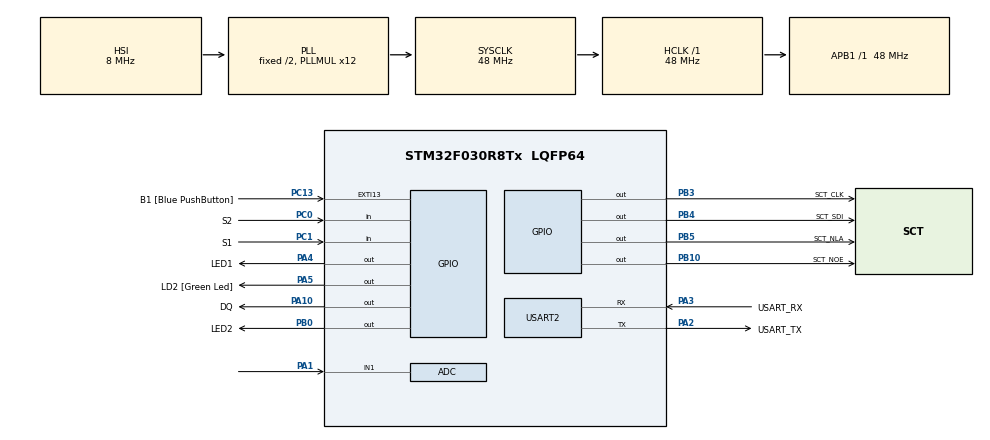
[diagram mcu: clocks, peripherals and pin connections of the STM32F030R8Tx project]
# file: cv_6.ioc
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ADC.ContinuousConvMode=ENABLE
ADC.Overrun=ADC_OVR_DATA_OVERWRITTEN
ADC.Resolution=ADC_RESOLUTION_10B
Mcu.Family=STM32F0
Mcu.Name=STM32F030R8Tx
Mcu.Package=LQFP64
PA1.Mode=IN1
PA1.Signal=ADC_IN1
PA10.GPIO_Label=DQ
PA10.GPIO_ModeDefaultOutputPP=GPIO_MODE_OUTPUT_OD
PA10.GPIO_PuPd=GPIO_NOPULL
PA10.Signal=GPIO_Output
PA13.GPIO_Label=TMS
PA13.Mode=Serial_Wire
PA13.Signal=SYS_SWDIO
PA14.GPIO_Label=TCK
PA14.Mode=Serial_Wire
PA14.Signal=SYS_SWCLK
PA2.GPIO_Label=USART_TX
PA2.GPIO_Mode=GPIO_MODE_AF_PP
PA2.GPIO_PuPd=GPIO_NOPULL
PA2.GPIO_Speed=GPIO_SPEED_FREQ_LOW
PA2.Mode=Asynchronous
PA2.Signal=USART2_TX
PA3.GPIO_Label=USART_RX
PA3.GPIO_Mode=GPIO_MODE_AF_PP
PA3.GPIO_PuPd=GPIO_NOPULL
PA3.GPIO_Speed=GPIO_SPEED_FREQ_LOW
PA3.Mode=Asynchronous
PA3.Signal=USART2_RX
PA4.GPIO_Label=LED1
PA4.Signal=GPIO_Output
PA5.GPIO_Label=LD2 [Green Led]
PA5.GPIO_Mode=GPIO_MODE_OUTPUT_PP
PA5.GPIO_PuPd=GPIO_NOPULL
PA5.GPIO_Speed=GPIO_SPEED_FREQ_LOW
PA5.Signal=GPIO_Output
PB0.GPIO_Label=LED2
PB0.Signal=GPIO_Output
PB10.GPIO_Label=SCT_NOE
PB10.Signal=GPIO_Output
PB3.GPIO_Label=SCT_CLK
PB3.Signal=GPIO_Output
PB4.GPIO_Label=SCT_SDI
PB4.Signal=GPIO_Output
PB5.GPIO_Label=SCT_NLA
PB5.Signal=GPIO_Output
PC0.GPIO_Label=S2
PC0.GPIO_PuPd=GPIO_PULLUP
PC0.Signal=GPIO_Input
PC1.GPIO_Label=S1
PC1.GPIO_PuPd=GPIO_PULLUP
PC1.Signal=GPIO_Input
PC13.GPIO_Label=B1 [Blue PushButton]
PC13.GPIO_ModeDefaultEXTI=GPIO_MODE_IT_FALLING
PC13.Signal=GPXTI13
PC14-OSC32_IN.Mode=LSE-External-Oscillator
PC14-OSC32_IN.Signal=RCC_OSC32_IN
PC15-OSC32_OUT.Mode=LSE-External-Oscillator
PC15-OSC32_OUT.Signal=RCC_OSC32_OUT
PF0-OSC_IN.Mode=HSE-External-Clock-Source
PF0-OSC_IN.Signal=RCC_OSC_IN
PF1-OSC_OUT.Signal=RCC_OSC_OUT
ProjectManager.HeapSize=0x200
ProjectManager.StackSize=0x400
ProjectManager.TargetToolchain=STM32CubeIDE
RCC.AHBFreq_Value=48000000
RCC.APB1Freq_Value=48000000
RCC.APB1TimFreq_Value=48000000
RCC.HCLKFreq_Value=48000000
RCC.PLLMUL=RCC_PLL_MUL12
RCC.SYSCLKFreq_VALUE=48000000
RCC.SYSCLKSource=RCC_SYSCLKSOURCE_PLLCLK
USART2.VirtualMode-Asynchronous=VM_ASYNC
board=NUCLEO-F030R8

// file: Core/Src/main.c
/* USER CODE BEGIN Header */
/**
  ******************************************************************************
  * @file           : main.c
  * @brief          : Main program body
  ******************************************************************************
  * @attention
  *
  * Copyright (c) 2022 STMicroelectronics.
  * All rights reserved.
  *
  * This software is licensed under terms that can be found in the LICENSE file
  * in the root directory of this software component.
  * If no LICENSE file comes with this software, it is provided AS-IS.
  *
  ******************************************************************************
  */
/* USER CODE END Header */
#include "main.h"

/* USER CODE BEGIN Includes */

#include "1wire.h"
#include "sct.h"
#include "data_NTC.h"

/* USER CODE END Includes */

/* USER CODE BEGIN PD */

#define CONVERT_T_DELAY 750 // the time it takes to complete the reading
#define DISPLAY_PERIOD 50 // 50ms timeout
#define MEASURE_PERIOD 750

/* USER CODE END PD */

ADC_HandleTypeDef hadc;

UART_HandleTypeDef huart2;

/* USER CODE BEGIN PV */

static uint16_t NTC_value = 0;
static enum { SHOW_NTC, SHOW_DS18B20} state = SHOW_DS18B20; // state is changed, once a corresponding button is pressed

/* USER CODE END PV */

void SystemClock_Config(void);
static void MX_GPIO_Init(void);
static void MX_USART2_UART_Init(void);
static void MX_ADC_Init(void);

int main(void)
{

  /* MCU Configuration--------------------------------------------------------*/

  /* Reset of all peripherals, Initializes the Flash interface and the Systick. */
  HAL_Init();

  /* Configure the system clock */
  SystemClock_Config();

  /* Initialize all configured peripherals */
  MX_GPIO_Init();
  MX_USART2_UART_Init();
  MX_ADC_Init();
  /* USER CODE BEGIN 2 */

  OWInit(); // 1-wire library initialization

  sct_init(); // LED display library initialization

  HAL_ADCEx_Calibration_Start(&hadc); // ADC initialization
  HAL_ADC_Start(&hadc);

  /* USER CODE END 2 */

  /* Infinite loop */
  /* USER CODE BEGIN WHILE */
  while (1)
  {
	  // pin PA10 was initialized as an open drain pin because of the 1-wire communication
	  static uint32_t lastDisplayTicks = 0;
	  static uint32_t lastMeasurementTicks = 0;
	  static uint8_t odd_pass = 0;
	  static uint8_t rev_dir = 1;
	  static int16_t temperature = 0;
	  static uint8_t kr = 0;

	  if(HAL_GetTick() >= lastMeasurementTicks + MEASURE_PERIOD) // take measurements every 750 ms
	  {
		  lastMeasurementTicks = HAL_GetTick();
		  odd_pass = !odd_pass; // between temperature reading initialization and reading the value from the sensor must be delay at least 750 ms

		  NTC_value = HAL_ADC_GetValue(&hadc);
		  if(odd_pass) OWConvertAll();
		  else
		  {
			  OWReadTemperature(&temperature);
			  if(temperature % 10 >= 5) temperature = 1 + (temperature / 10);
			  else temperature /= 10;
		  }
	  }
	  if(HAL_GetTick() >= lastDisplayTicks + DISPLAY_PERIOD) // update display and read keys every 50 ms
	  {
		  lastDisplayTicks = HAL_GetTick();

		  if(rev_dir) kr++;
		  else kr--;
		  if(kr > 8)
		  {
			  kr = 0; // knight rider bargraph
			  rev_dir = !rev_dir;
		  }
		  else if(kr < 0)
		  {
		  	 kr = 0; // knight rider bargraph
		  	 rev_dir = !rev_dir;
		  }

		  if(!HAL_GPIO_ReadPin(GPIOC, S1_Pin))
		  {
			  state = SHOW_NTC;
		  }
		  else if(!HAL_GPIO_ReadPin(S2_GPIO_Port, S2_Pin))
		  {
			  state = SHOW_DS18B20;
		  }
		  switch(state)
		  {
			  case SHOW_NTC:
				  sct_value(NTC_LOOKUP_TABLE[NTC_value], kr, 2);
				  HAL_GPIO_WritePin(GPIOB, LED2_Pin, 1);
				  HAL_GPIO_WritePin(GPIOA, LED1_Pin, 0);
				  break;
			  case SHOW_DS18B20:
				  sct_value(temperature, kr, 2);
				  HAL_GPIO_WritePin(GPIOA, LED1_Pin, 1);
				  HAL_GPIO_WritePin(GPIOB, LED2_Pin, 0);
				  break;
			  default: sct_value(temperature, 0, 2);
		  }

	  }
    /* USER CODE END WHILE */

  }
}

void SystemClock_Config(void)
{
  RCC_OscInitTypeDef RCC_OscInitStruct = {0};
  RCC_ClkInitTypeDef RCC_ClkInitStruct = {0};

  /** Initializes the RCC Oscillators according to the specified parameters
  * in the RCC_OscInitTypeDef structure.
  */
  RCC_OscInitStruct.OscillatorType = RCC_OSCILLATORTYPE_HSI|RCC_OSCILLATORTYPE_HSI14;
  RCC_OscInitStruct.HSIState = RCC_HSI_ON;
  RCC_OscInitStruct.HSI14State = RCC_HSI14_ON;
  RCC_OscInitStruct.HSICalibrationValue = RCC_HSICALIBRATION_DEFAULT;
  RCC_OscInitStruct.HSI14CalibrationValue = 16;
  RCC_OscInitStruct.PLL.PLLState = RCC_PLL_ON;
  RCC_OscInitStruct.PLL.PLLSource = RCC_PLLSOURCE_HSI;
  RCC_OscInitStruct.PLL.PLLMUL = RCC_PLL_MUL12;
  RCC_OscInitStruct.PLL.PREDIV = RCC_PREDIV_DIV1;
  if (HAL_RCC_OscConfig(&RCC_OscInitStruct) != HAL_OK)
  {
    Error_Handler();
  }

  /** Initializes the CPU, AHB and APB buses clocks
  */
  RCC_ClkInitStruct.ClockType = RCC_CLOCKTYPE_HCLK|RCC_CLOCKTYPE_SYSCLK
                              |RCC_CLOCKTYPE_PCLK1;
  RCC_ClkInitStruct.SYSCLKSource = RCC_SYSCLKSOURCE_PLLCLK;
  RCC_ClkInitStruct.AHBCLKDivider = RCC_SYSCLK_DIV1;
  RCC_ClkInitStruct.APB1CLKDivider = RCC_HCLK_DIV1;

  if (HAL_RCC_ClockConfig(&RCC_ClkInitStruct, FLASH_LATENCY_1) != HAL_OK)
  {
    Error_Handler();
  }
}

static void MX_ADC_Init(void)
{

  ADC_ChannelConfTypeDef sConfig = {0};

  /** Configure the global features of the ADC (Clock, Resolution, Data Alignment and number of conversion)
  */
  hadc.Instance = ADC1;
  hadc.Init.ClockPrescaler = ADC_CLOCK_ASYNC_DIV1;
  hadc.Init.Resolution = ADC_RESOLUTION_10B;
  hadc.Init.DataAlign = ADC_DATAALIGN_RIGHT;
  hadc.Init.ScanConvMode = ADC_SCAN_DIRECTION_FORWARD;
  hadc.Init.EOCSelection = ADC_EOC_SINGLE_CONV;
  hadc.Init.LowPowerAutoWait = DISABLE;
  hadc.Init.LowPowerAutoPowerOff = DISABLE;
  hadc.Init.ContinuousConvMode = ENABLE;
  hadc.Init.DiscontinuousConvMode = DISABLE;
  hadc.Init.ExternalTrigConv = ADC_SOFTWARE_START;
  hadc.Init.ExternalTrigConvEdge = ADC_EXTERNALTRIGCONVEDGE_NONE;
  hadc.Init.DMAContinuousRequests = DISABLE;
  hadc.Init.Overrun = ADC_OVR_DATA_OVERWRITTEN;
  if (HAL_ADC_Init(&hadc) != HAL_OK)
  {
    Error_Handler();
  }

  /** Configure for the selected ADC regular channel to be converted.
  */
  sConfig.Channel = ADC_CHANNEL_1;
  sConfig.Rank = ADC_RANK_CHANNEL_NUMBER;
  sConfig.SamplingTime = ADC_SAMPLETIME_1CYCLE_5;
  if (HAL_ADC_ConfigChannel(&hadc, &sConfig) != HAL_OK)
  {
    Error_Handler();
  }

}

static void MX_USART2_UART_Init(void)
{

  huart2.Instance = USART2;
  huart2.Init.BaudRate = 38400;
  huart2.Init.WordLength = UART_WORDLENGTH_8B;
  huart2.Init.StopBits = UART_STOPBITS_1;
  huart2.Init.Parity = UART_PARITY_NONE;
  huart2.Init.Mode = UART_MODE_TX_RX;
  huart2.Init.HwFlowCtl = UART_HWCONTROL_NONE;
  huart2.Init.OverSampling = UART_OVERSAMPLING_16;
  huart2.Init.OneBitSampling = UART_ONE_BIT_SAMPLE_DISABLE;
  huart2.AdvancedInit.AdvFeatureInit = UART_ADVFEATURE_NO_INIT;
  if (HAL_UART_Init(&huart2) != HAL_OK)
  {
    Error_Handler();
  }

}

static void MX_GPIO_Init(void)
{
  GPIO_InitTypeDef GPIO_InitStruct = {0};

  /* GPIO Ports Clock Enable */
  __HAL_RCC_GPIOC_CLK_ENABLE();
  __HAL_RCC_GPIOF_CLK_ENABLE();
  __HAL_RCC_GPIOA_CLK_ENABLE();
  __HAL_RCC_GPIOB_CLK_ENABLE();

  /*Configure GPIO pin Output Level */
  HAL_GPIO_WritePin(GPIOA, LED1_Pin|LD2_Pin|DQ_Pin, GPIO_PIN_RESET);

  /*Configure GPIO pin Output Level */
  HAL_GPIO_WritePin(GPIOB, LED2_Pin|SCT_NOE_Pin|SCT_CLK_Pin|SCT_SDI_Pin
                          |SCT_NLA_Pin, GPIO_PIN_RESET);

  /*Configure GPIO pin : B1_Pin */
  GPIO_InitStruct.Pin = B1_Pin;
  GPIO_InitStruct.Mode = GPIO_MODE_IT_FALLING;
  GPIO_InitStruct.Pull = GPIO_NOPULL;
  HAL_GPIO_Init(B1_GPIO_Port, &GPIO_InitStruct);

  /*Configure GPIO pins : S2_Pin S1_Pin */
  GPIO_InitStruct.Pin = S2_Pin|S1_Pin;
  GPIO_InitStruct.Mode = GPIO_MODE_INPUT;
  GPIO_InitStruct.Pull = GPIO_PULLUP;
  HAL_GPIO_Init(GPIOC, &GPIO_InitStruct);

  /*Configure GPIO pins : LED1_Pin LD2_Pin */
  GPIO_InitStruct.Pin = LED1_Pin|LD2_Pin;
  GPIO_InitStruct.Mode = GPIO_MODE_OUTPUT_PP;
  GPIO_InitStruct.Pull = GPIO_NOPULL;
  GPIO_InitStruct.Speed = GPIO_SPEED_FREQ_LOW;
  HAL_GPIO_Init(GPIOA, &GPIO_InitStruct);

  /*Configure GPIO pins : LED2_Pin SCT_NOE_Pin SCT_CLK_Pin SCT_SDI_Pin
                           SCT_NLA_Pin */
  GPIO_InitStruct.Pin = LED2_Pin|SCT_NOE_Pin|SCT_CLK_Pin|SCT_SDI_Pin
                          |SCT_NLA_Pin;
  GPIO_InitStruct.Mode = GPIO_MODE_OUTPUT_PP;
  GPIO_InitStruct.Pull = GPIO_NOPULL;
  GPIO_InitStruct.Speed = GPIO_SPEED_FREQ_LOW;
  HAL_GPIO_Init(GPIOB, &GPIO_InitStruct);

  /*Configure GPIO pin : DQ_Pin */
  GPIO_InitStruct.Pin = DQ_Pin;
  GPIO_InitStruct.Mode = GPIO_MODE_OUTPUT_OD;
  GPIO_InitStruct.Pull = GPIO_NOPULL;
  GPIO_InitStruct.Speed = GPIO_SPEED_FREQ_LOW;
  HAL_GPIO_Init(DQ_GPIO_Port, &GPIO_InitStruct);

}

void Error_Handler(void)
{
  __disable_irq();
  while (1)
  {
  }
}
